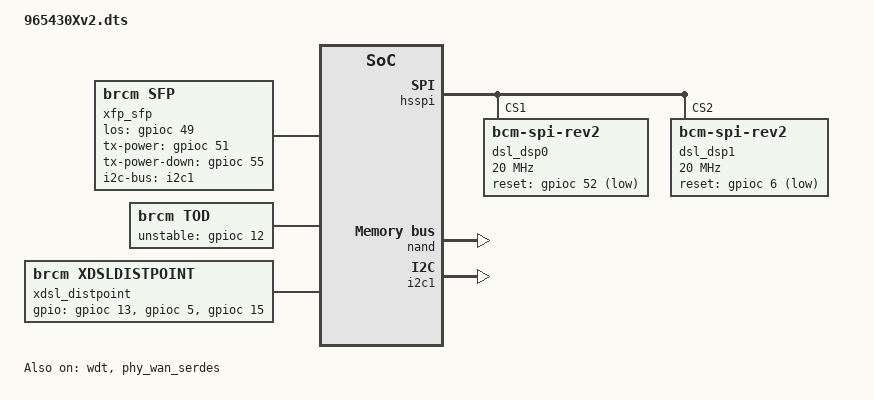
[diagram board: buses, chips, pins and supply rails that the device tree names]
#include "inc/55040.dtsi"

/ {
    memory_controller {
        memcfg = <(BP_DDR_SPEED_1067_14_14_14 | \
                   BP_DDR_TOTAL_SIZE_512MB    | \
                   BP_DDR_DEVICE_WIDTH_16     | \
                   BP_DDR_TOTAL_WIDTH_32BIT   | \
                   BP_DDR_CONFIG_DEBUG)>;
    };
};

/ {
    buttons {
        compatible = "brcm,buttons";
        reset_button {
            ext_irq = <&bca_extintr 54 GPIO_ACTIVE_LOW (BCA_EXTINTR_TYPE_LOW_LEVEL | BCA_EXTINTR_TYPE_SENSE_EDGE)>;
            press {
                print = "Button Press -- Hold for 5s to do restore to default";
            };
            hold {
                rst_to_dflt = <5>;
            };
            release {
                reset = <0>;
            };  
        };
    };    

    xfp_sfp: xfp_sfp {
        pinctrl-names = "tx-sd";
        pinctrl-0 = <&a_rogue_onu_in_pin_56>;
        compatible = "brcm,sfp";
        i2c-bus = <&i2c1>;
        los-gpio = <&gpioc 49 GPIO_ACTIVE_HIGH>;
        mod-def0 = <&bca_extintr 60 GPIO_ACTIVE_LOW (BCA_EXTINTR_TYPE_BOTH_EDGE | BCA_EXTINTR_TYPE_SENSE_EDGE)>;
        tx-power-gpio = <&gpioc 51 GPIO_ACTIVE_HIGH>;
        tx-power-down-gpio = <&gpioc 55 GPIO_ACTIVE_HIGH>;
    };

    wan_serdes {
            compatible = "brcm,pon-drv";
            trx = <&xfp_sfp>;
    };

    tod {
        compatible = "brcm,tod";
        pinctrl-names = "default";
        pinctrl-0 = <&a_wan_nco_1pps_sig_pin_32>;

        unstable-gpio = <&gpioc 12 GPIO_ACTIVE_HIGH>;
    };

    xdsl_distpoint {
        compatible = "brcm,xdsldistpoint";
        gpios = <&gpioc 13 GPIO_ACTIVE_HIGH>, <&gpioc 5 GPIO_ACTIVE_HIGH>, <&gpioc 15 GPIO_ACTIVE_HIGH>;
        gpio-names = "reset-DCXO_PWDN", "CPE_DYING_GASP", "10G_EXT_SEL";
        gpio-default-val = <1 1 0>;
        // gpio-value-names-0 = "EXT", "DCXO";
        // gpio-value-names-2 = "Trigger DSL DYING GASP message to CO", "OFF";
    };

    dsldsp0: dsldsp0 {
        /* Defined below */
    };

};

&dsldsp0 {
        switchdsp0port1:1 {
                sw-type = "G9991_SW";

                ports {
                        #address-cells = <1>;
                        #size-cells = <0>;

                        port0@0 {
                                reg = <0>;
                        };

                        port1@1 {
                                reg = <1>;
                        };

                        port2@2 {
                                reg = <2>;
                        };

                        port3@3 {
                                reg = <3>;
                        };

                        port16@16 {
                                reg = <16>;
                                management;
                                label = "dsp0";
                        };

                        port17@17 {
                                reg = <17>;
                                management;
                                label = "dsp1";
                        };
                };
        };
};

&serdes_lport {
        lportsrds4:4 {
              status = "okay";
        };
};

&mdio_lport {
        lportphy1:1 {
                status = "okay";
        };
};

&switch0 {
        pinctrl-0 = <&lport_m_mdc_pin_98 &lport_m_mdio_pin_99 &rgmii1_pins>;

        ports {
                port_gphy0 {
                        status = "okay";
                        label = "eth0";
                        management;
                        network-leds = <&led0 &led1>;
                };

                port_xfi_hsgmii1@xfi4 {
			status = "okay";
                        link = <&switchdsp0port1>;
                };

                port_wan {
                        status = "okay";
                };
        };
};

&hsspi {
    pinctrl-names="default";
    pinctrl-0 = <&spim_ss1_b_pin_106 &a_spim_ss2_b_pin_14>;
    status = "okay";

    #address-cells = <1>;
    #size-cells = <0>;

    dsl_dsp0 {
        compatible = "bcm-spi-rev2";
        reg = <1>; /* chip select 1 */
        spi-max-frequency = <20000000>;
        reset-gpio = <&gpioc 52 GPIO_ACTIVE_LOW>;
        spi-cpha;
        spi-cpol;
    };
    dsl_dsp1 {
        compatible = "bcm-spi-rev2";
        reg = <2>; /* chip select 2 */
        spi-max-frequency = <20000000>;
        reset-gpio = <&gpioc 6 GPIO_ACTIVE_LOW>;
        spi-cpha;
        spi-cpol;
    };
};

&nand {
    status = "okay";
};
&wdt {
    status = "okay";
};
&i2c1 {
    pinctrl-0 = <&i2c_2_scl_pin_23 &i2c_2_sda_pin_24>;
    pinctrl-names = "default";
    status = "okay";
};

&phy_wan_serdes {
    status = "okay";
};

&led_ctrl {
    led0: port_0-led_0-pin_0 {
              active_low;
              status = "okay";
              link = <LED_SPEED_GBE>;
          };
    led1: port_0-led_2-pin_2 {
              active_low;
              status = "okay";
              activity = <LED_SPEED_GBE>;
          };
};
